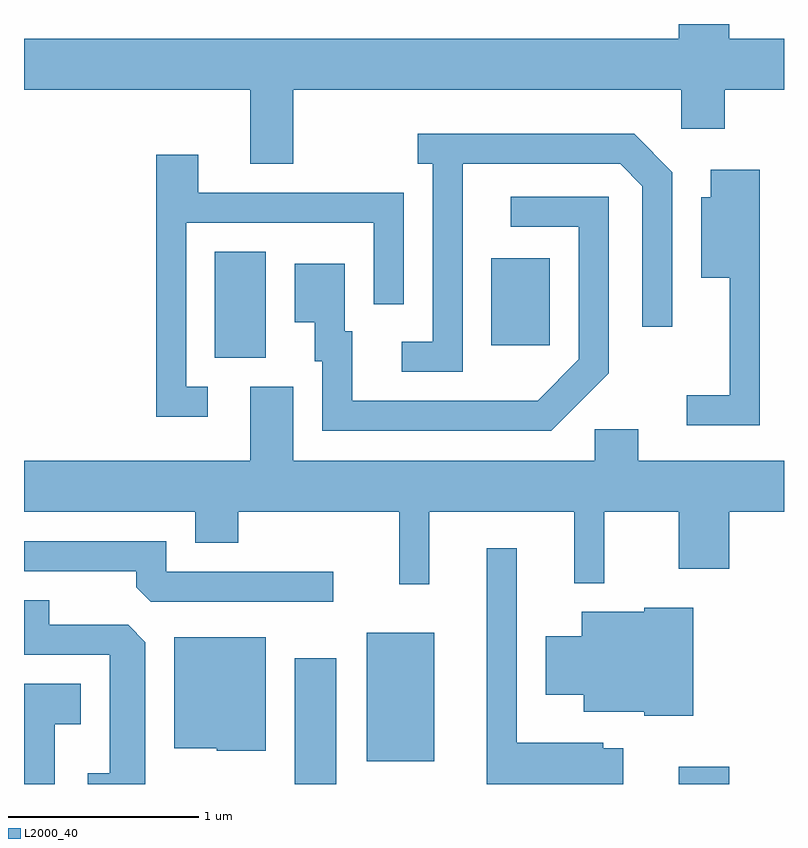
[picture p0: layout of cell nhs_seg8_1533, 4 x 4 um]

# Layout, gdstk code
import gdstk
lib = gdstk.Library(unit=1e-6, precision=1e-09)
def R(c, l, rs):  # rectangles x0, y0, x1, y1
    for r in rs: c.add(gdstk.rectangle(r[:2], r[2:], *l))
def P(c, l, *ps):  # polygons
    for p in ps: c.add(gdstk.Polygon(p, *l))
L2000_40 = (2000, 40)

nhs_seg8_1533 = lib.new_cell('nhs_seg8_1533')
R(nhs_seg8_1533, L2000_40, [(233.036,1808.342,233.254,1809.004), (235.056,1808.342,235.324,1808.434), (233.416,1808.461,233.769,1809.139), (232.616,1810.586,232.884,1811.144), (234.071,1810.651,234.379,1811.109)])
P(nhs_seg8_1533, L2000_40, [(233.029,1811.996),(235.071,1811.996),(235.071,1811.791),(235.299,1811.791),(235.299,1811.996),(235.611,1811.996),(235.611,1812.264),(235.324,1812.264),(235.324,1812.342),(235.056,1812.342),(235.056,1812.264),(231.611,1812.264),(231.611,1811.996),(232.801,1811.996),(232.801,1811.606),(233.029,1811.606)],
  [(233.919,1811.606),(234.749,1811.606),(234.866,1811.489),(234.866,1810.748),(235.024,1810.748),(235.024,1811.562),(234.822,1811.764),(233.683,1811.764),(233.683,1811.606),(233.761,1811.606),(233.761,1810.669),(233.598,1810.669),(233.598,1810.511),(233.919,1810.511)],
  [(232.578,1810.434),(232.464,1810.434),(232.464,1811.296),(233.451,1811.296),(233.451,1810.868),(233.609,1810.868),(233.609,1811.454),(232.529,1811.454),(232.529,1811.654),(232.306,1811.654),(232.306,1810.276),(232.578,1810.276)],
  [(235.484,1811.574),(235.226,1811.574),(235.226,1811.429),(235.176,1811.429),(235.176,1811.006),(235.326,1811.006),(235.326,1810.389),(235.098,1810.389),(235.098,1810.231),(235.484,1810.231)],
  [(234.689,1810.504),(234.689,1811.434),(234.173,1811.434),(234.173,1811.276),(234.531,1811.276),(234.531,1810.577),(234.314,1810.359),(233.339,1810.359),(233.339,1810.724),(233.299,1810.724),(233.299,1811.079),(233.036,1811.079),(233.036,1810.771),(233.141,1810.771),(233.141,1810.566),(233.181,1810.566),(233.181,1810.201),(234.387,1810.201)],
  [(233.744,1809.776),(234.506,1809.776),(234.506,1809.398),(234.664,1809.398),(234.664,1809.776),(235.056,1809.776),(235.056,1809.476),(235.324,1809.476),(235.324,1809.776),(235.611,1809.776),(235.611,1810.044),(234.844,1810.044),(234.844,1810.209),(234.616,1810.209),(234.616,1810.044),(233.029,1810.044),(233.029,1810.434),(232.801,1810.434),(232.801,1810.044),(231.611,1810.044),(231.611,1809.776),(232.511,1809.776),(232.511,1809.611),(232.739,1809.611),(232.739,1809.776),(233.586,1809.776),(233.586,1809.393),(233.744,1809.393)],
  [(233.238,1809.459),(232.359,1809.459),(232.359,1809.619),(231.611,1809.619),(231.611,1809.461),(232.201,1809.461),(232.201,1809.377),(232.277,1809.301),(233.238,1809.301)],
  [(234.764,1808.529),(234.659,1808.529),(234.659,1808.559),(234.204,1808.559),(234.204,1809.583),(234.046,1809.583),(234.046,1808.342),(234.764,1808.342)],
  [(232.249,1809.089),(232.159,1809.179),(231.744,1809.179),(231.744,1809.309),(231.611,1809.309),(231.611,1809.021),(232.061,1809.021),(232.061,1808.399),(231.946,1808.399),(231.946,1808.342),(232.249,1808.342)],
  [(235.134,1809.269),(234.876,1809.269),(234.876,1809.249),(234.546,1809.249),(234.546,1809.119),(234.356,1809.119),(234.356,1808.811),(234.556,1808.811),(234.556,1808.721),(234.876,1808.721),(234.876,1808.701),(235.134,1808.701)],
  [(232.884,1809.114),(232.401,1809.114),(232.401,1808.531),(232.625,1808.531),(232.625,1808.516),(232.884,1808.516)],
  [(231.774,1808.656),(231.909,1808.656),(231.909,1808.869),(231.611,1808.869),(231.611,1808.342),(231.774,1808.342)])

lib.write_gds('nhs_seg8_1533.gds')
